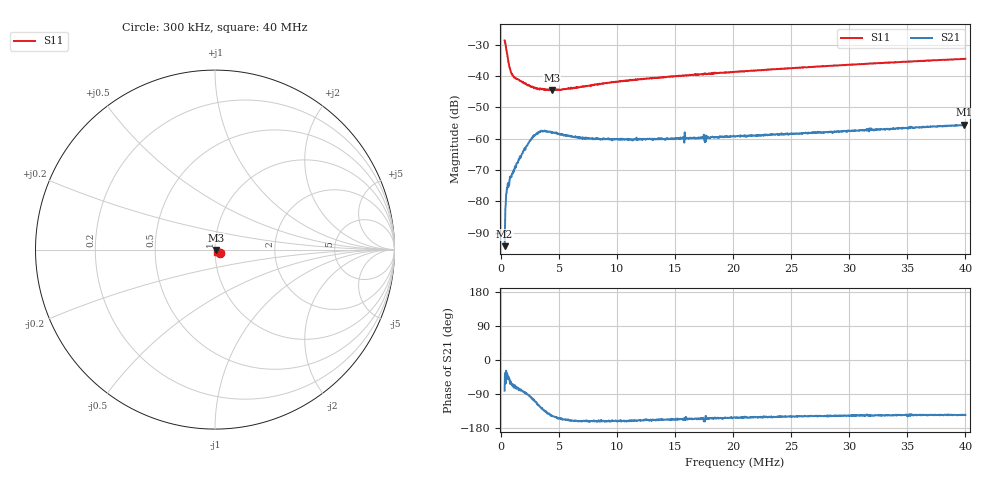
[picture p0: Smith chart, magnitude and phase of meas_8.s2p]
# HZ S RI R 50
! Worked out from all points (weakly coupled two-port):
!   1206 points, 300 kHz to 40 MHz, reference 50 ohm
!   highest |S21| = -55.56 dB at 39.9 MHz (marker M1); lowest = -94.3 dB at 300 kHz (marker M2)
!   lowest |S11| = -44.6 dB at 4.385 MHz (marker M3), VSWR 1.01, Z = 50.5 - j0.232 ohm
!   |S11| at or under -10 dB: start of sweep to end of sweep
!   S12 and S22 are empty: the file has one direction only
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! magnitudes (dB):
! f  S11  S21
! 300 kHz  -28.6  -94.3
! 431.8 kHz  -31.2  -77.7
! 629.5 kHz  -35.5  -75.4
! 794.2 kHz  -38.1  -72.6
! 958.9 kHz  -39.4  -71.1
! 1.124 MHz  -40.5  -69.9
! 1.98 MHz  -42.3  -63.3
! 2.54 MHz  -43.2  -60.6
! 2.903 MHz  -43.6  -58.9
! 3.595 MHz  -44.1  -57.7
! 4.385 MHz  -44.6  -58.2
! 6.922 MHz  -43.5  -59.8
! 11.24 MHz  -41.4  -60.2
! 13.54 MHz  -40.6  -59.9
! 17.27 MHz  -39.4  -59.5
! 17.7 MHz  -39.4  -60.0
! 17.86 MHz  -39.3  -59.7
! 20.17 MHz  -38.6  -59.4
! 26.79 MHz  -37.1  -58.0
! 33.41 MHz  -35.6  -56.9
! 39.9 MHz  -34.5  -55.6
! 40 MHz  -34.5  -55.6
